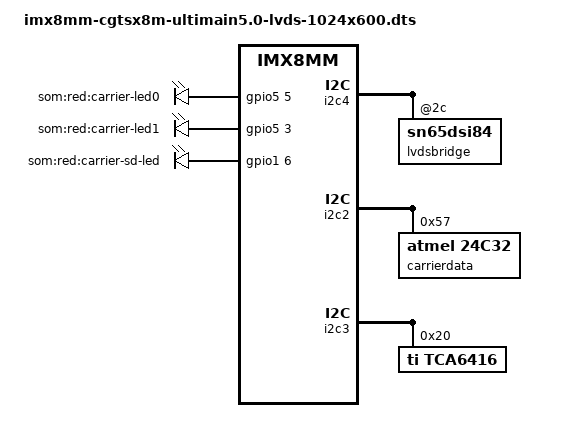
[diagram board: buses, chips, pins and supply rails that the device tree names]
/*
 * Copyright (C) 2020 - Ultimaker B.V.
 * Copyright (C) 2020 - Raymond Siudak <raysiudak@gmail.com>
*/

/dts-v1/;

#include "congatec/imx8mm-cgtsx8m.dts"
#include "ulticontroller4.0.dtsi"

/* See Documentation/devicetree/bindings/video/display-timing.txt */
/* HX8282-A11 1024x600@60Hz */
&i2c4 {
    /* DSI-LVDS bridge */
    lvdsbridge: sn65dsi84@2c {
        /delete-property/ lvds,use-uboot-settings; // will get replaced by dp props
        status = "okay";

        i2c-edid = <&edid_eeprom>; // This will load the configuration from the EEPROM.

        /*
           LVDS 1024x600@60Hz pixclock 51.2MHz
           These settings will be ignored because 'i2c-edid' is defined, leaving them in for documentation
        */
        lvds,pixelclock = <51206400>;
        lvds,hactive = <1024>;
        lvds,vactive = <600>;
        lvds,hfront_porch = <160>;
        lvds,hback_porch = <160>;
        lvds,hsync_len = <10>; // Must be more then 1, number does not matter
        lvds,vfront_porch = <12>;
        lvds,vback_porch = <23>;
        lvds,vsync_len = <10>; // Must be more then 1, number does not matter
        lvds,color_depth = "rgb24";
        lvds,hsync_pol = <0>;
        lvds,vsync_pol = <0>;
        lvds,datamap = "spwg";
    };
};

/* Remove pins used in Ultiboard 5 from generic GPIOs pinctrl settings of imx8mm. */
&pinctrl_gpio1 {
    fsl,pins = <
        MX8MM_IOMUXC_GPIO1_IO07_GPIO1_IO7       0x140 /* GPIO0 / CSI0 PWR */
        MX8MM_IOMUXC_GPIO1_IO15_GPIO1_IO15      0x140 /* TEST# */
    >;
};

&pinctrl_gpio4 {
	fsl,pins = <
        MX8MM_IOMUXC_SAI3_RXC_GPIO4_IO29        0x140 /* GPIO4*/
        MX8MM_IOMUXC_SAI1_RXC_GPIO4_IO1         0x100 /* GPIO7 / RESET_HUB*/
        MX8MM_IOMUXC_SAI3_RXFS_GPIO4_IO28       0x080 /* GPIO6 / IMXRT BootMode Enable*/       
        MX8MM_IOMUXC_SAI1_TXC_GPIO4_IO11        0x140 /* GPIO9 */
        MX8MM_IOMUXC_SAI1_TXFS_GPIO4_IO10       0x100 /* GPIO10 / U12 WRITE PROTECT */
        MX8MM_IOMUXC_SAI1_MCLK_GPIO4_IO20       0x140 /* GPIO11 */
        MX8MM_IOMUXC_SAI1_TXD3_GPIO4_IO15       0x140 /* PM_CHARGING# */
        MX8MM_IOMUXC_SAI1_TXD2_GPIO4_IO14       0x140 /* PM_CHARGER_PRSNT# */
        MX8MM_IOMUXC_SAI1_TXD4_GPIO4_IO16       0x140 /* BOOT_SEL0# */
        MX8MM_IOMUXC_SAI1_TXD5_GPIO4_IO17       0x140 /* BOOT_SEL1# */
        MX8MM_IOMUXC_SAI1_TXD6_GPIO4_IO18       0x140 /* BOOT_SEL2# */
        MX8MM_IOMUXC_SAI1_RXD5_GPIO4_IO7        0x080 /* SAI1_RXD5 -> RESET_OUT# / IMXRT nReset */
	>;
};

&pinctrl_gpio5 {
    fsl,pins = <
        MX8MM_IOMUXC_SPDIF_RX_GPIO5_IO4         0x140 /* GPIO5 / PWMOUT */
        MX8MM_IOMUXC_UART3_TXD_GPIO5_IO27       0x140 
    >;
};

/* Add GPIOs pinctrl for Ultboard 5. */

/* GPIO PAD setting */
/* 0x1C0 -- pull-up,   HYST, no-OD, slow, X1 */
/* 0x140 -- pull-up,   CMOS, no-OD, slow, X1 */
/* 0x100 -- pull-down, CMOS, no-OD, slow, X1 */
/* 0x080 -- pull-off,  HYST, no-OD, slow, X1 */
/* 0x000 -- pull-off,  CMOS, no-OD, slow, X1 */

&iomuxc {
    Ultiboard50 {
        pinctrl_leds_1: ledsgrp-1 {
            fsl,pins = <
                MX8MM_IOMUXC_SPDIF_TX_GPIO5_IO3         0x100 /* GPIO1 / CSI1 PWR */
                MX8MM_IOMUXC_SPDIF_EXT_CLK_GPIO5_IO5    0x100 /* GPIO3 / CSI1 RST */
                MX8MM_IOMUXC_GPIO1_IO06_GPIO1_IO6       0x100 /* GPIO2 / CSI0 RST */
            >;
        };
        
        pinctrl_i2c3_tca6416: i2c3_tca6416 {
            fsl,pins = <
                MX8MM_IOMUXC_SAI1_RXFS_GPIO4_IO0        0x080 /* GPIO8 / U35 - TCA6416 INT */  
            >;
        };
    };
};

&i2c2 {
    /* Carrier data EEPROM (U12) */
    carrierdata@57 {
        compatible = "atmel,24c32";
        reg = <0x57>;
        pagesize = <32>;
    };
};

&i2c3 {
    tca6416@20 {
        compatible = "ti,tca6416";
        reg = <0x20>;
        pinctrl-names = "default";
        pinctrl-0 = <&pinctrl_i2c3_tca6416>;
        gpio-controller;
        #gpio-cells = <2>;
        gpio-line-names = "VCC5_EXT_EN", "VCC5_EXT_OK", "VCC5_BUS_EN", "VCC5_BUS_OK", 
                          "HDMI_PWR_EN", "HDMI_PWR_OK", "VCC5_PH_EN", "VCC5_PH_OK", 
                          "VCC24_HP_PG", "VCC24_HP_nEN_SOM", "LVDS_PWR_EN", "LVDS_PWR_OK", 
                          "P1_4", "NFC_ID", "P1_6", "P1_7";
    };
};

/* Set pin names for IMXRT control lines */
&gpio4 {
    gpio-line-names = "", "", "", "", "", "", "", "IMXRT_nReset", 
                      "", "", "", "", "", "", "", "", 
                      "", "", "", "", "", "", "", "", 
                      "", "", "", "", "IMXRT_BootMode_En", "", "", "";
};

/* Set pin names for IMXRT control lines */
&gpio5 {
    gpio-line-names = "", "", "", "", "", "", "", "", 
                      "", "", "", "", "", "", "", "", 
                      "", "", "", "", "", "", "", "", 
                      "", "", "", "OnOff_Button", "", "", "", "";
};

/* Ultimainboard J8 debug console. We cannot use DMA, it uses proprietary firmware drivers.  */
&uart4 { /* SER1 */
    /delete-property/ dmas;
    /delete-property/ dma-names;
};

/ {
    leds {
        compatible = "gpio-leds";
        pinctrl-names = "default";
        pinctrl-0 = <&pinctrl_leds_1>;

        led0 {
            label = "som:red:carrier-led0";
            gpios = <&gpio5 5 GPIO_ACTIVE_HIGH>;
            linux,default-trigger = "heartbeat";
            default-state = "keep";
        };

        led1 {
            label = "som:red:carrier-led1";
            gpios = <&gpio5 3 GPIO_ACTIVE_HIGH>;
            linux,default-trigger = "none";
            default-state = "keep";
        };

        led2 {
            label = "som:red:carrier-sd-led";
            gpios = <&gpio1 6 GPIO_ACTIVE_HIGH>;
            linux,default-trigger = "mmc1";
            default-state = "keep";
		};
	};

	gpio-keys {
	   status = "disabled";
	};
};

